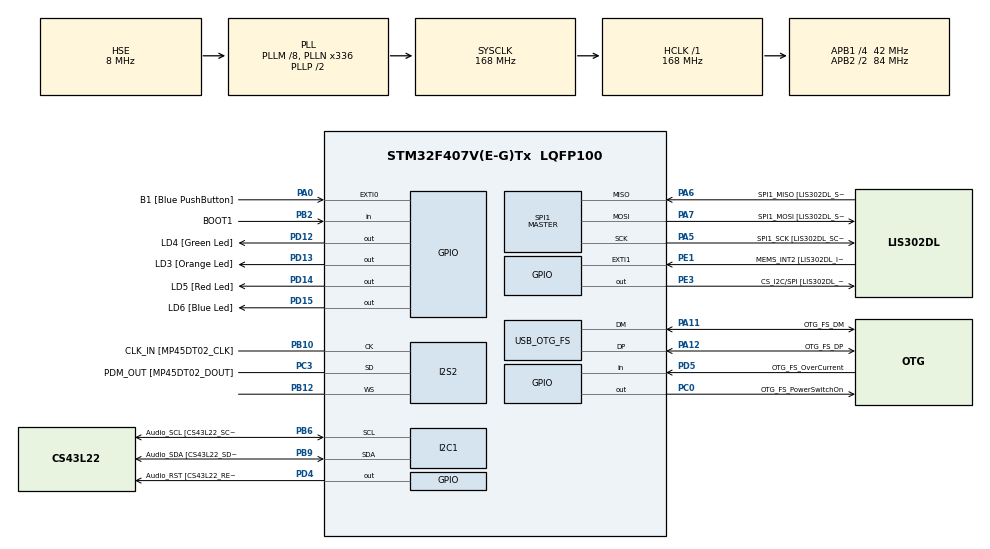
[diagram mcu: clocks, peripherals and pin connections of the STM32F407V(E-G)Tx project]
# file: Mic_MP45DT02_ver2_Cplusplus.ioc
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Dma.Request0=SPI2_RX
Dma.SPI2_RX.0.Direction=DMA_PERIPH_TO_MEMORY
Dma.SPI2_RX.0.FIFOMode=DMA_FIFOMODE_DISABLE
Dma.SPI2_RX.0.Instance=DMA1_Stream3
Dma.SPI2_RX.0.MemDataAlignment=DMA_MDATAALIGN_BYTE
Dma.SPI2_RX.0.MemInc=DMA_MINC_ENABLE
Dma.SPI2_RX.0.Mode=DMA_CIRCULAR
Dma.SPI2_RX.0.PeriphDataAlignment=DMA_PDATAALIGN_BYTE
Dma.SPI2_RX.0.PeriphInc=DMA_PINC_DISABLE
Dma.SPI2_RX.0.Priority=DMA_PRIORITY_HIGH
FATFS._USE_LFN=3
I2S2.AudioFreq=I2S_AUDIOFREQ_16K
I2S2.ErrorAudioFreq=-0.26 %
I2S2.FullDuplexMode=I2S_FULLDUPLEXMODE_DISABLE
I2S2.Instance=SPI$Index
I2S2.Mode=I2S_MODE_MASTER_RX
I2S2.RealAudioFreq=15.957 KHz
I2S2.Standard=I2S_STANDARD_MSB
I2S2.VirtualMode=I2S_MODE_MASTER
Mcu.Family=STM32F4
Mcu.Name=STM32F407V(E-G)Tx
Mcu.Package=LQFP100
NVIC.DMA1_Stream3_IRQn=true\:0\:0\:false\:false\:true\:false\:true\:true
NVIC.OTG_FS_IRQn=true\:0\:0\:false\:false\:true\:true\:true\:true
NVIC.PriorityGroup=NVIC_PRIORITYGROUP_0
NVIC.SPI2_IRQn=true\:0\:0\:false\:false\:true\:true\:true\:true
NVIC.TIM6_DAC_IRQn=true\:0\:0\:false\:false\:true\:false\:true\:true
NVIC.TimeBase=TIM6_DAC_IRQn
NVIC.TimeBaseIP=TIM6
PA0-WKUP.GPIO_Label=B1 [Blue PushButton]
PA0-WKUP.GPIO_ModeDefaultEXTI=GPIO_MODE_EVT_RISING
PA0-WKUP.GPIO_PuPd=GPIO_NOPULL
PA0-WKUP.Signal=GPXTI0
PA10.GPIO_Label=OTG_FS_ID
PA10.GPIO_Mode=GPIO_MODE_AF_PP
PA10.GPIO_PuPd=GPIO_NOPULL
PA10.GPIO_Speed=GPIO_SPEED_FREQ_LOW
PA10.Signal=USB_OTG_FS_ID
PA11.GPIO_Label=OTG_FS_DM
PA11.GPIO_Mode=GPIO_MODE_AF_PP
PA11.GPIO_PuPd=GPIO_NOPULL
PA11.GPIO_Speed=GPIO_SPEED_FREQ_LOW
PA11.Mode=Host_Only
PA11.Signal=USB_OTG_FS_DM
PA12.GPIO_Label=OTG_FS_DP
PA12.GPIO_Mode=GPIO_MODE_AF_PP
PA12.GPIO_PuPd=GPIO_NOPULL
PA12.GPIO_Speed=GPIO_SPEED_FREQ_LOW
PA12.Mode=Host_Only
PA12.Signal=USB_OTG_FS_DP
PA13.GPIO_Label=SWDIO
PA13.Mode=Serial_Wire
PA13.Signal=SYS_JTMS-SWDIO
PA14.GPIO_Label=SWCLK
PA14.Mode=Serial_Wire
PA14.Signal=SYS_JTCK-SWCLK
PA4.GPIO_Label=I2S3_WS [CS43L22_LRCK]
PA4.GPIO_Mode=GPIO_MODE_AF_PP
PA4.GPIO_PuPd=GPIO_NOPULL
PA4.GPIO_Speed=GPIO_SPEED_FREQ_LOW
PA4.Signal=I2S3_WS
PA5.GPIO_Label=SPI1_SCK [LIS302DL_SCL/SPC]
PA5.GPIO_Mode=GPIO_MODE_AF_PP
PA5.GPIO_PuPd=GPIO_NOPULL
PA5.GPIO_Speed=GPIO_SPEED_FREQ_LOW
PA5.Mode=Full_Duplex_Master
PA5.Signal=SPI1_SCK
PA6.GPIO_Label=SPI1_MISO [LIS302DL_SDO]
PA6.GPIO_Mode=GPIO_MODE_AF_PP
PA6.GPIO_PuPd=GPIO_NOPULL
PA6.GPIO_Speed=GPIO_SPEED_FREQ_LOW
PA6.Mode=Full_Duplex_Master
PA6.Signal=SPI1_MISO
PA7.GPIO_Label=SPI1_MOSI [LIS302DL_SDA/SDI/SDO]
PA7.GPIO_Mode=GPIO_MODE_AF_PP
PA7.GPIO_PuPd=GPIO_NOPULL
PA7.GPIO_Speed=GPIO_SPEED_FREQ_LOW
PA7.Mode=Full_Duplex_Master
PA7.Signal=SPI1_MOSI
PA9.GPIO_Label=VBUS_FS
PA9.GPIO_Mode=GPIO_MODE_INPUT
PA9.GPIO_PuPd=GPIO_NOPULL
PA9.Signal=USB_OTG_FS_VBUS
PB10.GPIO_Label=CLK_IN [MP45DT02_CLK]
PB10.GPIO_Mode=GPIO_MODE_AF_PP
PB10.GPIO_PuPd=GPIO_NOPULL
PB10.GPIO_Speed=GPIO_SPEED_FREQ_LOW
PB10.Mode=Half_Duplex_Master
PB10.Signal=I2S2_CK
PB12.Mode=Half_Duplex_Master
PB12.Signal=I2S2_WS
PB2.GPIO_Label=BOOT1
PB2.GPIO_Mode=GPIO_MODE_INPUT
PB2.GPIO_PuPd=GPIO_NOPULL
PB2.Signal=GPIO_Input
PB3.GPIO_Label=SWO
PB3.Signal=SYS_JTDO-SWO
PB6.GPIO_Label=Audio_SCL [CS43L22_SCL]
PB6.GPIO_Mode=GPIO_MODE_AF_OD
PB6.GPIO_Pu=GPIO_PULLUP
PB6.GPIO_PuPd=GPIO_NOPULL
PB6.GPIO_Speed=GPIO_SPEED_FREQ_LOW
PB6.Mode=I2C
PB6.Signal=I2C1_SCL
PB9.GPIO_Label=Audio_SDA [CS43L22_SDA]
PB9.GPIO_Mode=GPIO_MODE_AF_OD
PB9.GPIO_Pu=GPIO_PULLUP
PB9.GPIO_PuPd=GPIO_NOPULL
PB9.GPIO_Speed=GPIO_SPEED_FREQ_LOW
PB9.Mode=I2C
PB9.Signal=I2C1_SDA
PC0.GPIO_Label=OTG_FS_PowerSwitchOn
PC0.GPIO_PuPd=GPIO_NOPULL
PC0.GPIO_Speed=GPIO_SPEED_FREQ_LOW
PC0.PinState=GPIO_PIN_SET
PC0.Signal=GPIO_Output
PC10.GPIO_Label=I2S3_SCK [CS43L22_SCLK]
PC10.GPIO_Mode=GPIO_MODE_AF_PP
PC10.GPIO_PuPd=GPIO_NOPULL
PC10.GPIO_Speed=GPIO_SPEED_FREQ_LOW
PC10.Signal=I2S3_CK
PC12.GPIO_Label=I2S3_SD [CS43L22_SDIN]
PC12.GPIO_Mode=GPIO_MODE_AF_PP
PC12.GPIO_PuPd=GPIO_NOPULL
PC12.GPIO_Speed=GPIO_SPEED_FREQ_LOW
PC12.Signal=I2S3_SD
PC14-OSC32_IN.GPIO_Label=PC14-OSC32_IN
PC14-OSC32_IN.Mode=LSE-External-Oscillator
PC14-OSC32_IN.Signal=RCC_OSC32_IN
PC15-OSC32_OUT.GPIO_Label=PC15-OSC32_OUT
PC15-OSC32_OUT.Mode=LSE-External-Oscillator
PC15-OSC32_OUT.Signal=RCC_OSC32_OUT
PC3.GPIO_Label=PDM_OUT [MP45DT02_DOUT]
PC3.GPIO_Mode=GPIO_MODE_AF_PP
PC3.GPIO_PuPd=GPIO_NOPULL
PC3.GPIO_Speed=GPIO_SPEED_FREQ_LOW
PC3.Mode=Half_Duplex_Master
PC3.Signal=I2S2_SD
PC7.GPIO_Label=I2S3_MCK [CS43L22_MCLK]
PC7.GPIO_Mode=GPIO_MODE_AF_PP
PC7.GPIO_PuPd=GPIO_NOPULL
PC7.GPIO_Speed=GPIO_SPEED_FREQ_LOW
PC7.Signal=I2S3_MCK
PD12.GPIO_Label=LD4 [Green Led]
PD12.GPIO_PuPd=GPIO_NOPULL
PD12.GPIO_Speed=GPIO_SPEED_FREQ_LOW
PD12.Signal=GPIO_Output
PD13.GPIO_Label=LD3 [Orange Led]
PD13.GPIO_PuPd=GPIO_NOPULL
PD13.GPIO_Speed=GPIO_SPEED_FREQ_LOW
PD13.Signal=GPIO_Output
PD14.GPIO_Label=LD5 [Red Led]
PD14.GPIO_PuPd=GPIO_NOPULL
PD14.GPIO_Speed=GPIO_SPEED_FREQ_LOW
PD14.Signal=GPIO_Output
PD15.GPIO_Label=LD6 [Blue Led]
PD15.GPIO_PuPd=GPIO_NOPULL
PD15.GPIO_Speed=GPIO_SPEED_FREQ_LOW
PD15.Signal=GPIO_Output
PD4.GPIO_Label=Audio_RST [CS43L22_RESET]
PD4.GPIO_PuPd=GPIO_NOPULL
PD4.GPIO_Speed=GPIO_SPEED_FREQ_LOW
PD4.Signal=GPIO_Output
PD5.GPIO_Label=OTG_FS_OverCurrent
PD5.GPIO_Mode=GPIO_MODE_INPUT
PD5.GPIO_PuPd=GPIO_NOPULL
PD5.Signal=GPIO_Input
PE1.GPIO_Label=MEMS_INT2 [LIS302DL_INT2]
PE1.GPIO_ModeDefaultEXTI=GPIO_MODE_EVT_RISING
PE1.GPIO_PuPd=GPIO_NOPULL
PE1.Signal=GPXTI1
PE3.GPIO_Label=CS_I2C/SPI [LIS302DL_CS_I2C/SPI]
PE3.GPIO_PuPd=GPIO_NOPULL
PE3.GPIO_Speed=GPIO_SPEED_FREQ_LOW
PE3.Signal=GPIO_Output
PH0-OSC_IN.GPIO_Label=PH0-OSC_IN
PH0-OSC_IN.Mode=HSE-External-Oscillator
PH0-OSC_IN.Signal=RCC_OSC_IN
PH1-OSC_OUT.GPIO_Label=PH1-OSC_OUT
PH1-OSC_OUT.Mode=HSE-External-Oscillator
PH1-OSC_OUT.Signal=RCC_OSC_OUT
ProjectManager.HeapSize=0x200
ProjectManager.StackSize=0x400
ProjectManager.TargetToolchain=STM32CubeIDE
RCC.48MHZClocksFreq_Value=48000000
RCC.AHBFreq_Value=168000000
RCC.APB1CLKDivider=RCC_HCLK_DIV4
RCC.APB1Freq_Value=42000000
RCC.APB1TimFreq_Value=84000000
RCC.APB2CLKDivider=RCC_HCLK_DIV2
RCC.APB2Freq_Value=84000000
RCC.APB2TimFreq_Value=168000000
RCC.CortexFreq_Value=168000000
RCC.HCLKFreq_Value=168000000
RCC.HSE_VALUE=8000000
RCC.HSI_VALUE=16000000
RCC.PLLM=8
RCC.PLLN=336
RCC.PLLQ=7
RCC.SYSCLKFreq_VALUE=168000000
RCC.SYSCLKSource=RCC_SYSCLKSOURCE_PLLCLK
RCC.VCOOutputFreq_Value=336000000
SPI1.BaudRatePrescaler-Full_Duplex_Master=SPI_BAUDRATEPRESCALER_2
SPI1.CalculateBaudRate-Full_Duplex_Master=42.0 MBits/s
SPI1.Direction=SPI_DIRECTION_2LINES
SPI1.Mode=SPI_MODE_MASTER
SPI1.Mode-Full_Duplex_Master=SPI_MODE_MASTER
SPI1.VirtualType=VM_MASTER
USB_HOST.SW_VBUS_DRIVE_MSC_FS=true
USB_HOST.USBH_HandleTypeDef-MSC_FS=hUsbHostFS
USB_HOST.VirtualModeFS=Msc
USB_OTG_FS.VirtualMode=Host_Only
USB_OTG_FS.phy_itface=HCD_PHY_EMBEDDED
VP_CRC_VS_CRC.Mode=CRC_Activate
VP_FATFS_VS_Generic.Mode=User_defined
VP_FATFS_VS_USB.Mode=USB
VP_PDM2PCM_VS_PDM2PCM.Mode=PDM2PCM_Channel
VP_SYS_VS_tim6.Mode=TIM6
VP_USB_HOST_VS_USB_HOST_MSC_FS.Mode=MSC_FS
board=STM32F407G-DISC1

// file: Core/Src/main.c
/* USER CODE BEGIN Header */
/**
  ******************************************************************************
  * @file           : main.c
  * @brief          : Main program body
  ******************************************************************************
  * @attention
  *
  * Copyright (c) 2024 STMicroelectronics.
  * All rights reserved.
  *
  * This software is licensed under terms that can be found in the LICENSE file
  * in the root directory of this software component.
  * If no LICENSE file comes with this software, it is provided AS-IS.
  *
  ******************************************************************************
  */
/* USER CODE END Header */
#include "main.h"
#include "fatfs.h"
#include "pdm2pcm.h"
#include "usb_host.h"

/* USER CODE BEGIN Includes */
//#include "pdm_filter.h"
#include "usbh_core.h"
#include "usbh_msc.h"
#include "ff.h"
#include "diskio.h"
/* USER CODE END Includes */

CRC_HandleTypeDef hcrc;

I2C_HandleTypeDef hi2c1;

I2S_HandleTypeDef hi2s2;
DMA_HandleTypeDef hdma_spi2_rx;

SPI_HandleTypeDef hspi1;

void SystemClock_Config(void);
static void MX_GPIO_Init(void);
static void MX_DMA_Init(void);
static void MX_I2C1_Init(void);
static void MX_SPI1_Init(void);
static void MX_CRC_Init(void);
static void MX_I2S2_Init(void);
void MX_USB_HOST_Process(void);

/* USER CODE BEGIN 0 */

#define PDM_BUFFER_SIZE 64
#define PCM_BUFFER_SIZE 16
uint16_t pdm_buffer[PDM_BUFFER_SIZE];
int16_t pcm_buffer[PCM_BUFFER_SIZE];
FATFS USBFatFs;
FIL MyFile;
char USBPath[4];

PDM_Filter_Handler_t PDM2PCM_Handler;
PDM_Filter_Config_t PDM2PCM_Config;

void PDM2PCM_Init(void)
{
    PDM2PCM_Handler.bit_order = PDM_FILTER_BIT_ORDER_LSB;
    PDM2PCM_Handler.endianness = PDM_FILTER_ENDIANNESS_LE;
    PDM2PCM_Handler.high_pass_tap = 2122358088;
    PDM2PCM_Handler.out_ptr_channels = 1;  // Mono output
    PDM2PCM_Handler.in_ptr_channels = 1;   // Single microphone
    PDM_Filter_Init(&PDM2PCM_Handler);

    PDM2PCM_Config.decimation_factor = PDM_FILTER_DEC_FACTOR_64;  // Adjust as needed
    PDM2PCM_Config.output_samples_number = 16;  // Number of output PCM samples per frame
    PDM2PCM_Config.mic_gain = 24;  // Microphone gain
    PDM_Filter_setConfig(&PDM2PCM_Handler, &PDM2PCM_Config);
}

void Convert_PDM_to_PCM(uint16_t *pdm_buffer)
{
    PDM_Filter(pdm_buffer, pcm_buffer, &PDM2PCM_Handler);
}

void Store_PCM_to_USB(int16_t *pcm_buffer, uint32_t size)
{
    UINT bytesWritten;
    FRESULT res;

    // Open or create a file on the USB drive
    res = f_open(&MyFile, "audio.pcm", FA_CREATE_ALWAYS | FA_WRITE);
    if (res != FR_OK)
    {
        // Error handling
    }
    else
    {
        // Write the PCM buffer to the file
        res = f_write(&MyFile, pcm_buffer, size * sizeof(int16_t), &bytesWritten);
        if (res != FR_OK || bytesWritten != size * sizeof(int16_t))
        {
            // Error handling
        }

        // Close the file
        f_close(&MyFile);
    }
}

void HAL_I2S_RxCpltCallback(I2S_HandleTypeDef *hi2s)
{
    if (hi2s->Instance == SPI2)
    {
        // Convert the second half of the PDM buffer to PCM
        Convert_PDM_to_PCM(&pdm_buffer[PDM_BUFFER_SIZE / 2]);

        // Store the PCM data to USB
        Store_PCM_to_USB(pcm_buffer, PCM_BUFFER_SIZE);
    }
}

void HAL_I2S_RxHalfCpltCallback(I2S_HandleTypeDef *hi2s)
{
    if (hi2s->Instance == SPI2)
    {
        // Convert the first half of the PDM buffer to PCM
        Convert_PDM_to_PCM(&pdm_buffer[0]);

        // Store the PCM data to USB
        Store_PCM_to_USB(pcm_buffer, PCM_BUFFER_SIZE);
    }
}

/* USER CODE END 0 */

int main(void)
{

  /* MCU Configuration--------------------------------------------------------*/

  /* Reset of all peripherals, Initializes the Flash interface and the Systick. */
  HAL_Init();

  /* Configure the system clock */
  SystemClock_Config();

  /* Initialize all configured peripherals */
  MX_GPIO_Init();
  MX_DMA_Init();
  MX_I2C1_Init();
  MX_SPI1_Init();
  MX_USB_HOST_Init();
  MX_CRC_Init();
  MX_I2S2_Init();
  MX_FATFS_Init();
  MX_PDM2PCM_Init();
  /* USER CODE BEGIN 2 */

  // Initialize PDM to PCM converter
  PDM2PCM_Init();

  // Initialize USB Host and mount the file system
  if (f_mount(&USBFatFs, (TCHAR const*)USBPath, 0) != FR_OK)
  {
      // Error handling
  }

  // Start I2S DMA to receive PDM data
  HAL_I2S_Receive_DMA(&hi2s2, pdm_buffer, PDM_BUFFER_SIZE);

  /* USER CODE END 2 */

  /* Infinite loop */
  while (1)
  {
    MX_USB_HOST_Process();

  }
}

void SystemClock_Config(void)
{
  RCC_OscInitTypeDef RCC_OscInitStruct = {0};
  RCC_ClkInitTypeDef RCC_ClkInitStruct = {0};

  /** Configure the main internal regulator output voltage
  */
  __HAL_RCC_PWR_CLK_ENABLE();
  __HAL_PWR_VOLTAGESCALING_CONFIG(PWR_REGULATOR_VOLTAGE_SCALE1);

  /** Initializes the RCC Oscillators according to the specified parameters
  * in the RCC_OscInitTypeDef structure.
  */
  RCC_OscInitStruct.OscillatorType = RCC_OSCILLATORTYPE_HSE;
  RCC_OscInitStruct.HSEState = RCC_HSE_ON;
  RCC_OscInitStruct.PLL.PLLState = RCC_PLL_ON;
  RCC_OscInitStruct.PLL.PLLSource = RCC_PLLSOURCE_HSE;
  RCC_OscInitStruct.PLL.PLLM = 8;
  RCC_OscInitStruct.PLL.PLLN = 336;
  RCC_OscInitStruct.PLL.PLLP = RCC_PLLP_DIV2;
  RCC_OscInitStruct.PLL.PLLQ = 7;
  if (HAL_RCC_OscConfig(&RCC_OscInitStruct) != HAL_OK)
  {
    Error_Handler();
  }

  /** Initializes the CPU, AHB and APB buses clocks
  */
  RCC_ClkInitStruct.ClockType = RCC_CLOCKTYPE_HCLK|RCC_CLOCKTYPE_SYSCLK
                              |RCC_CLOCKTYPE_PCLK1|RCC_CLOCKTYPE_PCLK2;
  RCC_ClkInitStruct.SYSCLKSource = RCC_SYSCLKSOURCE_PLLCLK;
  RCC_ClkInitStruct.AHBCLKDivider = RCC_SYSCLK_DIV1;
  RCC_ClkInitStruct.APB1CLKDivider = RCC_HCLK_DIV4;
  RCC_ClkInitStruct.APB2CLKDivider = RCC_HCLK_DIV2;

  if (HAL_RCC_ClockConfig(&RCC_ClkInitStruct, FLASH_LATENCY_5) != HAL_OK)
  {
    Error_Handler();
  }
}

static void MX_CRC_Init(void)
{

  hcrc.Instance = CRC;
  if (HAL_CRC_Init(&hcrc) != HAL_OK)
  {
    Error_Handler();
  }
  __HAL_CRC_DR_RESET(&hcrc);

}

static void MX_I2C1_Init(void)
{

  hi2c1.Instance = I2C1;
  hi2c1.Init.ClockSpeed = 100000;
  hi2c1.Init.DutyCycle = I2C_DUTYCYCLE_2;
  hi2c1.Init.OwnAddress1 = 0;
  hi2c1.Init.AddressingMode = I2C_ADDRESSINGMODE_7BIT;
  hi2c1.Init.DualAddressMode = I2C_DUALADDRESS_DISABLE;
  hi2c1.Init.OwnAddress2 = 0;
  hi2c1.Init.GeneralCallMode = I2C_GENERALCALL_DISABLE;
  hi2c1.Init.NoStretchMode = I2C_NOSTRETCH_DISABLE;
  if (HAL_I2C_Init(&hi2c1) != HAL_OK)
  {
    Error_Handler();
  }

}

static void MX_I2S2_Init(void)
{

  hi2s2.Instance = SPI2;
  hi2s2.Init.Mode = I2S_MODE_MASTER_RX;
  hi2s2.Init.Standard = I2S_STANDARD_MSB;
  hi2s2.Init.DataFormat = I2S_DATAFORMAT_16B;
  hi2s2.Init.MCLKOutput = I2S_MCLKOUTPUT_DISABLE;
  hi2s2.Init.AudioFreq = I2S_AUDIOFREQ_16K;
  hi2s2.Init.CPOL = I2S_CPOL_LOW;
  hi2s2.Init.ClockSource = I2S_CLOCK_PLL;
  hi2s2.Init.FullDuplexMode = I2S_FULLDUPLEXMODE_DISABLE;
  if (HAL_I2S_Init(&hi2s2) != HAL_OK)
  {
    Error_Handler();
  }

}

static void MX_SPI1_Init(void)
{

  /* SPI1 parameter configuration*/
  hspi1.Instance = SPI1;
  hspi1.Init.Mode = SPI_MODE_MASTER;
  hspi1.Init.Direction = SPI_DIRECTION_2LINES;
  hspi1.Init.DataSize = SPI_DATASIZE_8BIT;
  hspi1.Init.CLKPolarity = SPI_POLARITY_LOW;
  hspi1.Init.CLKPhase = SPI_PHASE_1EDGE;
  hspi1.Init.NSS = SPI_NSS_SOFT;
  hspi1.Init.BaudRatePrescaler = SPI_BAUDRATEPRESCALER_2;
  hspi1.Init.FirstBit = SPI_FIRSTBIT_MSB;
  hspi1.Init.TIMode = SPI_TIMODE_DISABLE;
  hspi1.Init.CRCCalculation = SPI_CRCCALCULATION_DISABLE;
  hspi1.Init.CRCPolynomial = 10;
  if (HAL_SPI_Init(&hspi1) != HAL_OK)
  {
    Error_Handler();
  }

}

static void MX_DMA_Init(void)
{

  /* DMA controller clock enable */
  __HAL_RCC_DMA1_CLK_ENABLE();

  /* DMA interrupt init */
  /* DMA1_Stream3_IRQn interrupt configuration */
  HAL_NVIC_SetPriority(DMA1_Stream3_IRQn, 0, 0);
  HAL_NVIC_EnableIRQ(DMA1_Stream3_IRQn);

}

static void MX_GPIO_Init(void)
{
  GPIO_InitTypeDef GPIO_InitStruct = {0};

  /* GPIO Ports Clock Enable */
  __HAL_RCC_GPIOE_CLK_ENABLE();
  __HAL_RCC_GPIOC_CLK_ENABLE();
  __HAL_RCC_GPIOH_CLK_ENABLE();
  __HAL_RCC_GPIOA_CLK_ENABLE();
  __HAL_RCC_GPIOB_CLK_ENABLE();
  __HAL_RCC_GPIOD_CLK_ENABLE();

  /*Configure GPIO pin Output Level */
  HAL_GPIO_WritePin(CS_I2C_SPI_GPIO_Port, CS_I2C_SPI_Pin, GPIO_PIN_RESET);

  /*Configure GPIO pin Output Level */
  HAL_GPIO_WritePin(OTG_FS_PowerSwitchOn_GPIO_Port, OTG_FS_PowerSwitchOn_Pin, GPIO_PIN_SET);

  /*Configure GPIO pin Output Level */
  HAL_GPIO_WritePin(GPIOD, LD4_Pin|LD3_Pin|LD5_Pin|LD6_Pin
                          |Audio_RST_Pin, GPIO_PIN_RESET);

  /*Configure GPIO pin : CS_I2C_SPI_Pin */
  GPIO_InitStruct.Pin = CS_I2C_SPI_Pin;
  GPIO_InitStruct.Mode = GPIO_MODE_OUTPUT_PP;
  GPIO_InitStruct.Pull = GPIO_NOPULL;
  GPIO_InitStruct.Speed = GPIO_SPEED_FREQ_LOW;
  HAL_GPIO_Init(CS_I2C_SPI_GPIO_Port, &GPIO_InitStruct);

  /*Configure GPIO pin : OTG_FS_PowerSwitchOn_Pin */
  GPIO_InitStruct.Pin = OTG_FS_PowerSwitchOn_Pin;
  GPIO_InitStruct.Mode = GPIO_MODE_OUTPUT_PP;
  GPIO_InitStruct.Pull = GPIO_NOPULL;
  GPIO_InitStruct.Speed = GPIO_SPEED_FREQ_LOW;
  HAL_GPIO_Init(OTG_FS_PowerSwitchOn_GPIO_Port, &GPIO_InitStruct);

  /*Configure GPIO pin : B1_Pin */
  GPIO_InitStruct.Pin = B1_Pin;
  GPIO_InitStruct.Mode = GPIO_MODE_EVT_RISING;
  GPIO_InitStruct.Pull = GPIO_NOPULL;
  HAL_GPIO_Init(B1_GPIO_Port, &GPIO_InitStruct);

  /*Configure GPIO pin : I2S3_WS_Pin */
  GPIO_InitStruct.Pin = I2S3_WS_Pin;
  GPIO_InitStruct.Mode = GPIO_MODE_AF_PP;
  GPIO_InitStruct.Pull = GPIO_NOPULL;
  GPIO_InitStruct.Speed = GPIO_SPEED_FREQ_LOW;
  GPIO_InitStruct.Alternate = GPIO_AF6_SPI3;
  HAL_GPIO_Init(I2S3_WS_GPIO_Port, &GPIO_InitStruct);

  /*Configure GPIO pin : BOOT1_Pin */
  GPIO_InitStruct.Pin = BOOT1_Pin;
  GPIO_InitStruct.Mode = GPIO_MODE_INPUT;
  GPIO_InitStruct.Pull = GPIO_NOPULL;
  HAL_GPIO_Init(BOOT1_GPIO_Port, &GPIO_InitStruct);

  /*Configure GPIO pins : LD4_Pin LD3_Pin LD5_Pin LD6_Pin
                           Audio_RST_Pin */
  GPIO_InitStruct.Pin = LD4_Pin|LD3_Pin|LD5_Pin|LD6_Pin
                          |Audio_RST_Pin;
  GPIO_InitStruct.Mode = GPIO_MODE_OUTPUT_PP;
  GPIO_InitStruct.Pull = GPIO_NOPULL;
  GPIO_InitStruct.Speed = GPIO_SPEED_FREQ_LOW;
  HAL_GPIO_Init(GPIOD, &GPIO_InitStruct);

  /*Configure GPIO pins : I2S3_MCK_Pin I2S3_SCK_Pin I2S3_SD_Pin */
  GPIO_InitStruct.Pin = I2S3_MCK_Pin|I2S3_SCK_Pin|I2S3_SD_Pin;
  GPIO_InitStruct.Mode = GPIO_MODE_AF_PP;
  GPIO_InitStruct.Pull = GPIO_NOPULL;
  GPIO_InitStruct.Speed = GPIO_SPEED_FREQ_LOW;
  GPIO_InitStruct.Alternate = GPIO_AF6_SPI3;
  HAL_GPIO_Init(GPIOC, &GPIO_InitStruct);

  /*Configure GPIO pin : OTG_FS_OverCurrent_Pin */
  GPIO_InitStruct.Pin = OTG_FS_OverCurrent_Pin;
  GPIO_InitStruct.Mode = GPIO_MODE_INPUT;
  GPIO_InitStruct.Pull = GPIO_NOPULL;
  HAL_GPIO_Init(OTG_FS_OverCurrent_GPIO_Port, &GPIO_InitStruct);

  /*Configure GPIO pin : MEMS_INT2_Pin */
  GPIO_InitStruct.Pin = MEMS_INT2_Pin;
  GPIO_InitStruct.Mode = GPIO_MODE_EVT_RISING;
  GPIO_InitStruct.Pull = GPIO_NOPULL;
  HAL_GPIO_Init(MEMS_INT2_GPIO_Port, &GPIO_InitStruct);

}

void HAL_TIM_PeriodElapsedCallback(TIM_HandleTypeDef *htim)
{
  if (htim->Instance == TIM6) {
    HAL_IncTick();
  }
}

void Error_Handler(void)
{
  __disable_irq();
  while (1)
  {
  }
}
